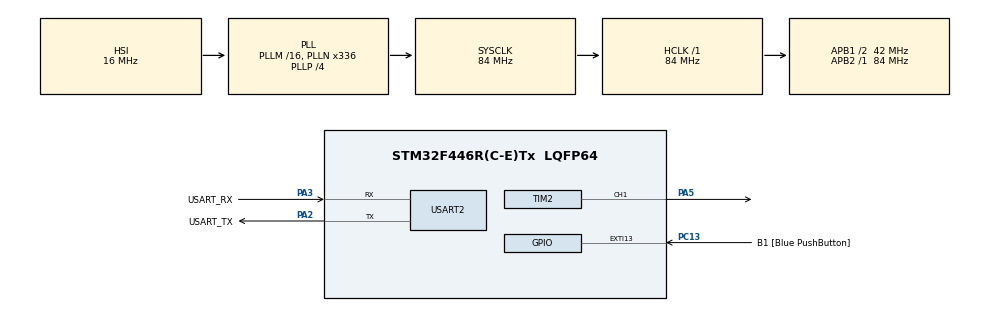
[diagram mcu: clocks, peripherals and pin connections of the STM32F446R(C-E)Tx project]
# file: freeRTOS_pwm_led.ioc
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FREERTOS.Tasks01=pwm_led,0,128,pwm_led_fun,Default,NULL,Dynamic,NULL,NULL
FREERTOS.configUSE_NEWLIB_REENTRANT=1
Mcu.Family=STM32F4
Mcu.Name=STM32F446R(C-E)Tx
Mcu.Package=LQFP64
NVIC.PriorityGroup=NVIC_PRIORITYGROUP_4
NVIC.TIM3_IRQn=true\:15\:0\:false\:false\:true\:false\:false\:true\:true
NVIC.TimeBase=TIM3_IRQn
NVIC.TimeBaseIP=TIM3
PA13.GPIO_Label=TMS
PA13.Mode=Serial_Wire
PA13.Signal=SYS_JTMS-SWDIO
PA14.GPIO_Label=TCK
PA14.Mode=Serial_Wire
PA14.Signal=SYS_JTCK-SWCLK
PA2.GPIO_Label=USART_TX
PA2.Mode=Asynchronous
PA2.Signal=USART2_TX
PA3.GPIO_Label=USART_RX
PA3.Mode=Asynchronous
PA3.Signal=USART2_RX
PA5.Signal=S_TIM2_CH1_ETR
PB3.GPIO_Label=SWO
PB3.Signal=SYS_JTDO-SWO
PC13.GPIO_Label=B1 [Blue PushButton]
PC13.GPIO_ModeDefaultEXTI=GPIO_MODE_IT_FALLING
PC13.Signal=GPXTI13
PC14-OSC32_IN.Mode=LSE-External-Oscillator
PC14-OSC32_IN.Signal=RCC_OSC32_IN
PC15-OSC32_OUT.Mode=LSE-External-Oscillator
PC15-OSC32_OUT.Signal=RCC_OSC32_OUT
PH0-OSC_IN.Mode=HSE-External-Oscillator
PH0-OSC_IN.Signal=RCC_OSC_IN
PH1-OSC_OUT.Mode=HSE-External-Oscillator
PH1-OSC_OUT.Signal=RCC_OSC_OUT
ProjectManager.HeapSize=0x200
ProjectManager.StackSize=0x400
ProjectManager.TargetToolchain=STM32CubeIDE
RCC.48MHZClocksFreq_Value=84000000
RCC.AHBFreq_Value=84000000
RCC.APB1CLKDivider=RCC_HCLK_DIV2
RCC.APB1Freq_Value=42000000
RCC.APB1TimFreq_Value=84000000
RCC.APB2Freq_Value=84000000
RCC.APB2TimFreq_Value=84000000
RCC.CortexFreq_Value=84000000
RCC.FLatency-AdvancedSettings=FLASH_LATENCY_2
RCC.HCLKFreq_Value=84000000
RCC.HSE_VALUE=8000000
RCC.HSI_VALUE=16000000
RCC.PLLN=336
RCC.PLLP=RCC_PLLP_DIV4
RCC.SYSCLKFreq_VALUE=84000000
RCC.SYSCLKSource=RCC_SYSCLKSOURCE_PLLCLK
RCC.USBFreq_Value=168000000
RCC.VCOOutputFreq_Value=336000000
SH.S_TIM2_CH1_ETR.0=TIM2_CH1,PWM Generation1 CH1
TIM2.Channel-PWM\ Generation1\ CH1=TIM_CHANNEL_1
TIM2.Period=1000
TIM2.Prescaler=15
TIM2.Pulse-PWM\ Generation1\ CH1=500
USART2.VirtualMode=VM_ASYNC
VP_FREERTOS_VS_CMSIS_V1.Mode=CMSIS_V1
VP_SYS_VS_tim3.Mode=TIM3
VP_TIM2_VS_ClockSourceINT.Mode=Internal
board=NUCLEO-F446RE

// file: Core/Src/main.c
/* USER CODE BEGIN Header */
/**
  ******************************************************************************
  * @file           : main.c
  * @brief          : Main program body
  ******************************************************************************
  * @attention
  *
  * Copyright (c) 2024 STMicroelectronics.
  * All rights reserved.
  *
  * This software is licensed under terms that can be found in the LICENSE file
  * in the root directory of this software component.
  * If no LICENSE file comes with this software, it is provided AS-IS.
  *
  ******************************************************************************
  */
/* USER CODE END Header */
#include "main.h"
#include "cmsis_os.h"

TIM_HandleTypeDef htim2;

UART_HandleTypeDef huart2;

osThreadId pwm_ledHandle;
/* USER CODE BEGIN PV */
uint32_t pwm_value = 1000;
int state = 0;
/* USER CODE END PV */

void SystemClock_Config(void);
static void MX_GPIO_Init(void);
static void MX_USART2_UART_Init(void);
static void MX_TIM2_Init(void);
void pwm_led_fun(void const * argument);

int main(void)
{

  /* MCU Configuration--------------------------------------------------------*/

  /* Reset of all peripherals, Initializes the Flash interface and the Systick. */
  HAL_Init();

  /* Configure the system clock */
  SystemClock_Config();

  /* Initialize all configured peripherals */
  MX_GPIO_Init();
  MX_USART2_UART_Init();
  MX_TIM2_Init();
  /* USER CODE BEGIN 2 */

  /* Start PWM */
  HAL_TIM_PWM_Start(&htim2, TIM_CHANNEL_1);

  /* USER CODE END 2 */

  /* Create the thread(s) */
  /* definition and creation of pwm_led */
  osThreadDef(pwm_led, pwm_led_fun, osPriorityNormal, 0, 128);
  pwm_ledHandle = osThreadCreate(osThread(pwm_led), NULL);

  /* Start scheduler */
  osKernelStart();

  /* We should never get here as control is now taken by the scheduler */
  /* Infinite loop */
  while (1)
  {

  }
}

void SystemClock_Config(void)
{
  RCC_OscInitTypeDef RCC_OscInitStruct = {0};
  RCC_ClkInitTypeDef RCC_ClkInitStruct = {0};

  /** Configure the main internal regulator output voltage
  */
  __HAL_RCC_PWR_CLK_ENABLE();
  __HAL_PWR_VOLTAGESCALING_CONFIG(PWR_REGULATOR_VOLTAGE_SCALE3);

  /** Initializes the RCC Oscillators according to the specified parameters
  * in the RCC_OscInitTypeDef structure.
  */
  RCC_OscInitStruct.OscillatorType = RCC_OSCILLATORTYPE_HSI;
  RCC_OscInitStruct.HSIState = RCC_HSI_ON;
  RCC_OscInitStruct.HSICalibrationValue = RCC_HSICALIBRATION_DEFAULT;
  RCC_OscInitStruct.PLL.PLLState = RCC_PLL_ON;
  RCC_OscInitStruct.PLL.PLLSource = RCC_PLLSOURCE_HSI;
  RCC_OscInitStruct.PLL.PLLM = 16;
  RCC_OscInitStruct.PLL.PLLN = 336;
  RCC_OscInitStruct.PLL.PLLP = RCC_PLLP_DIV4;
  RCC_OscInitStruct.PLL.PLLQ = 2;
  RCC_OscInitStruct.PLL.PLLR = 2;
  if (HAL_RCC_OscConfig(&RCC_OscInitStruct) != HAL_OK)
  {
    Error_Handler();
  }

  /** Initializes the CPU, AHB and APB buses clocks
  */
  RCC_ClkInitStruct.ClockType = RCC_CLOCKTYPE_HCLK|RCC_CLOCKTYPE_SYSCLK
                              |RCC_CLOCKTYPE_PCLK1|RCC_CLOCKTYPE_PCLK2;
  RCC_ClkInitStruct.SYSCLKSource = RCC_SYSCLKSOURCE_PLLCLK;
  RCC_ClkInitStruct.AHBCLKDivider = RCC_SYSCLK_DIV1;
  RCC_ClkInitStruct.APB1CLKDivider = RCC_HCLK_DIV2;
  RCC_ClkInitStruct.APB2CLKDivider = RCC_HCLK_DIV1;

  if (HAL_RCC_ClockConfig(&RCC_ClkInitStruct, FLASH_LATENCY_2) != HAL_OK)
  {
    Error_Handler();
  }
}

static void MX_TIM2_Init(void)
{

  TIM_ClockConfigTypeDef sClockSourceConfig = {0};
  TIM_MasterConfigTypeDef sMasterConfig = {0};
  TIM_OC_InitTypeDef sConfigOC = {0};

  htim2.Instance = TIM2;
  htim2.Init.Prescaler = 15;
  htim2.Init.CounterMode = TIM_COUNTERMODE_UP;
  htim2.Init.Period = 1000;
  htim2.Init.ClockDivision = TIM_CLOCKDIVISION_DIV1;
  htim2.Init.AutoReloadPreload = TIM_AUTORELOAD_PRELOAD_DISABLE;
  if (HAL_TIM_Base_Init(&htim2) != HAL_OK)
  {
    Error_Handler();
  }
  sClockSourceConfig.ClockSource = TIM_CLOCKSOURCE_INTERNAL;
  if (HAL_TIM_ConfigClockSource(&htim2, &sClockSourceConfig) != HAL_OK)
  {
    Error_Handler();
  }
  if (HAL_TIM_PWM_Init(&htim2) != HAL_OK)
  {
    Error_Handler();
  }
  sMasterConfig.MasterOutputTrigger = TIM_TRGO_RESET;
  sMasterConfig.MasterSlaveMode = TIM_MASTERSLAVEMODE_DISABLE;
  if (HAL_TIMEx_MasterConfigSynchronization(&htim2, &sMasterConfig) != HAL_OK)
  {
    Error_Handler();
  }
  sConfigOC.OCMode = TIM_OCMODE_PWM1;
  sConfigOC.Pulse = 500; // Initialize with a 50% duty cycle
  sConfigOC.OCPolarity = TIM_OCPOLARITY_HIGH;
  sConfigOC.OCFastMode = TIM_OCFAST_DISABLE;
  if (HAL_TIM_PWM_ConfigChannel(&htim2, &sConfigOC, TIM_CHANNEL_1) != HAL_OK)
  {
    Error_Handler();
  }
  HAL_TIM_MspPostInit(&htim2);

}

static void MX_USART2_UART_Init(void)
{

  huart2.Instance = USART2;
  huart2.Init.BaudRate = 115200;
  huart2.Init.WordLength = UART_WORDLENGTH_8B;
  huart2.Init.StopBits = UART_STOPBITS_1;
  huart2.Init.Parity = UART_PARITY_NONE;
  huart2.Init.Mode = UART_MODE_TX_RX;
  huart2.Init.HwFlowCtl = UART_HWCONTROL_NONE;
  huart2.Init.OverSampling = UART_OVERSAMPLING_16;
  if (HAL_UART_Init(&huart2) != HAL_OK)
  {
    Error_Handler();
  }

}

static void MX_GPIO_Init(void)
{

  /* GPIO Ports Clock Enable */
  __HAL_RCC_GPIOA_CLK_ENABLE();
  __HAL_RCC_GPIOB_CLK_ENABLE();

}

void pwm_led_fun(void const * argument)
{
  /* USER CODE BEGIN 5 */
  while (1)
  {
    /* Toggle PWM value between 0 and 1000 */
	  if (state == 0) {
	  	              pwm_value = 250; // 25% (1000 - 750)
	  	              state = 1;
	  	          } else if (state == 1) {
	  	              pwm_value = 500; // 50% (1000 - 500)
	  	              state = 2;
	  	          } else if (state == 2) {
	  	              pwm_value = 750; // 75% (1000 - 250)
	  	              state = 3;
	  	          } else {
	  	              pwm_value = 0; // Reset to 100%
	  	              state = 0;
	  	          }

    __HAL_TIM_SET_COMPARE(&htim2, TIM_CHANNEL_1, pwm_value);

    osDelay(1000); // 1-second delay
  }
  /* USER CODE END 5 */
}

void HAL_TIM_PeriodElapsedCallback(TIM_HandleTypeDef *htim)
{
  if (htim->Instance == TIM3)
  {
    /* Handle TIM3 events */
  }
}

void Error_Handler(void)
{
  __disable_irq();
  while (1)
  {
  }
}
